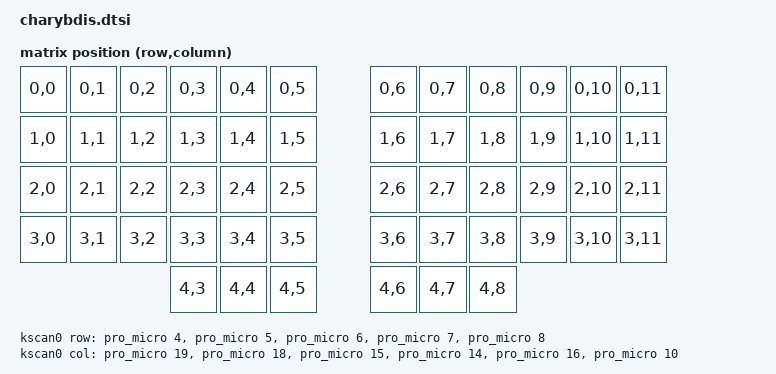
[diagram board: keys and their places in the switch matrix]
/* boards/shields/charybdis/charybdis.dtsi */

#include <dt-bindings/zmk/matrix_transform.h>

/ {
    chosen {
        zmk,kscan = &kscan0;
        zmk,matrix-transform = &default_transform;
        /delete-property/ zmk,physical-layout; /* 기존 정의 충돌 방지 */
    };

    /* [핵심 1] 판매자(Vzhao) 핀맵 적용 (col2row) */
    kscan0: kscan {
        compatible = "zmk,kscan-gpio-matrix";
        label = "KSCAN";
        diode-direction = "col2row";

        /* Row Pins (Vzhao) */
        row-gpios
            = <&pro_micro 4 (GPIO_ACTIVE_HIGH | GPIO_PULL_DOWN)>
            , <&pro_micro 5 (GPIO_ACTIVE_HIGH | GPIO_PULL_DOWN)>
            , <&pro_micro 6 (GPIO_ACTIVE_HIGH | GPIO_PULL_DOWN)>
            , <&pro_micro 7 (GPIO_ACTIVE_HIGH | GPIO_PULL_DOWN)>
            , <&pro_micro 8 (GPIO_ACTIVE_HIGH | GPIO_PULL_DOWN)>
            ;

        /* Col Pins (Vzhao) */
        col-gpios
            = <&pro_micro 19 GPIO_ACTIVE_HIGH>
            , <&pro_micro 18 GPIO_ACTIVE_HIGH>
            , <&pro_micro 15 GPIO_ACTIVE_HIGH>
            , <&pro_micro 14 GPIO_ACTIVE_HIGH>
            , <&pro_micro 16 GPIO_ACTIVE_HIGH>
            , <&pro_micro 10 GPIO_ACTIVE_HIGH>
            ;
    };

    /* [핵심 2] 매트릭스 변환 (표준 4x6) */
    default_transform: keymap_transform_0 {
        compatible = "zmk,matrix-transform";
        columns = <12>;
        rows = <5>;
        map = <
            RC(0,0) RC(0,1) RC(0,2) RC(0,3) RC(0,4) RC(0,5)  RC(0,6) RC(0,7) RC(0,8) RC(0,9) RC(0,10) RC(0,11)
            RC(1,0) RC(1,1) RC(1,2) RC(1,3) RC(1,4) RC(1,5)  RC(1,6) RC(1,7) RC(1,8) RC(1,9) RC(1,10) RC(1,11)
            RC(2,0) RC(2,1) RC(2,2) RC(2,3) RC(2,4) RC(2,5)  RC(2,6) RC(2,7) RC(2,8) RC(2,9) RC(2,10) RC(2,11)
            RC(3,0) RC(3,1) RC(3,2) RC(3,3) RC(3,4) RC(3,5)  RC(3,6) RC(3,7) RC(3,8) RC(3,9) RC(3,10) RC(3,11)
                                    RC(4,3) RC(4,4) RC(4,5)  RC(4,6) RC(4,7) RC(4,8)
        >;
    };

    /* [핵심 3] 에러 해결을 위한 레이아웃 정의 (choovick 호환) */
    charybdis_6col_layout: charybdis_6col_layout {
        compatible = "zmk,physical-layout";
        display-name = "Charybdis";
        transform = <&default_transform>;
        kscan = <&kscan0>;
    };
};
